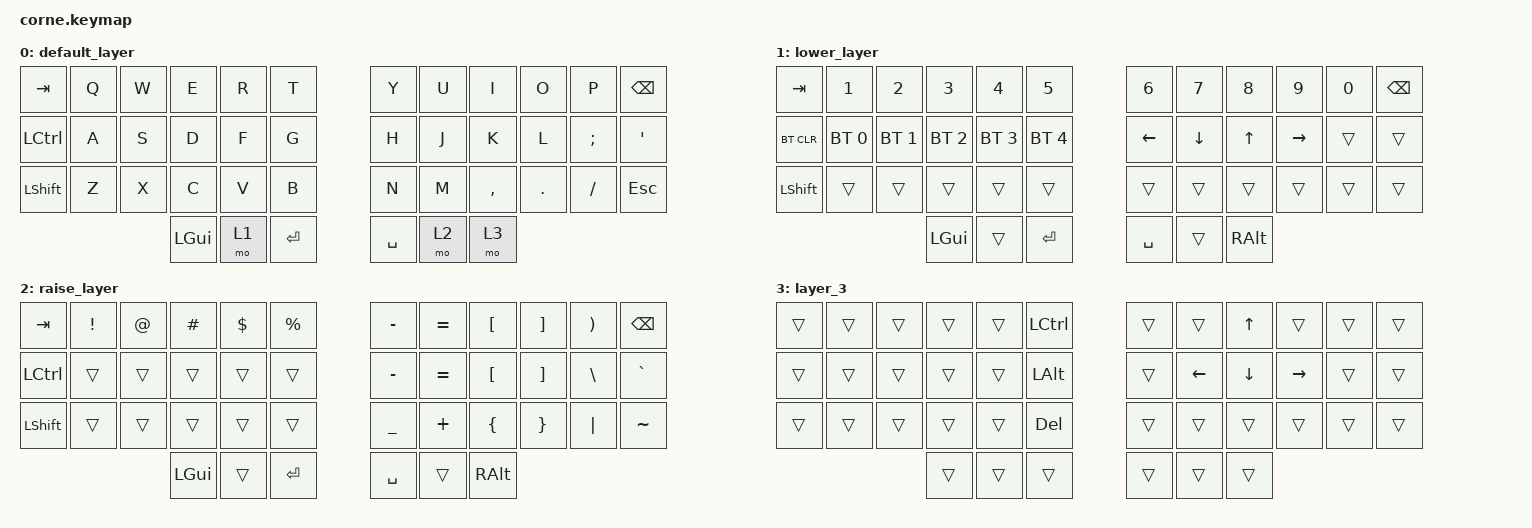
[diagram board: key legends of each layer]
/*
 * Copyright (c) 2020 The ZMK Contributors
 *
 * SPDX-License-Identifier: MIT
 */

#include <behaviors.dtsi>
#include <dt-bindings/zmk/bt.h>
#include <dt-bindings/zmk/keys.h>

/ {
    keymap {
        compatible = "zmk,keymap";

        default_layer {
            // -----------------------------------------------------------------------------------------
            // |  TAB |  Q  |  W  |  E  |  R  |  T  |   |  Y  |  U   |  I  |  O  |  P  | BKSP |
            // | CTRL |  A  |  S  |  D  |  F  |  G  |   |  H  |  J   |  K  |  L  |  ;  |  '   |
            // | SHFT |  Z  |  X  |  C  |  V  |  B  |   |  N  |  M   |  ,  |  .  |  /  | ESC  |
            //                    | GUI | LWR | SPC |   | ENT | RSE  | ALT |

            bindings = <
&kp TAB    &kp Q  &kp W  &kp E     &kp R  &kp T        &kp Y      &kp U  &kp I      &kp O    &kp P     &kp BSPC
&kp LCTRL  &kp A  &kp S  &kp D     &kp F  &kp G        &kp H      &kp J  &kp K      &kp L    &kp SEMI  &kp SQT
&kp LSHFT  &kp Z  &kp X  &kp C     &kp V  &kp B        &kp N      &kp M  &kp COMMA  &kp DOT  &kp FSLH  &kp ESC
                         &kp LGUI  &mo 1  &kp ENTER    &kp SPACE  &mo 2  &mo 3
            >;
        };

        lower_layer {
            // -----------------------------------------------------------------------------------------
            // |  TAB |  1  |  2  |  3  |  4  |  5  |   |  6  |  7  |  8  |  9  |  0  | BKSP |
            // | BTCLR| BT1 | BT2 | BT3 | BT4 | BT5 |   | LFT | DWN |  UP | RGT |     |      |
            // | SHFT |     |     |     |     |     |   |     |     |     |     |     |      |
            //                    | GUI |     | SPC |   | ENT |     | ALT |

            bindings = <
&kp TAB     &kp N1        &kp N2        &kp N3        &kp N4        &kp N5          &kp N6     &kp N7    &kp N8    &kp N9     &kp N0  &kp BSPC
&bt BT_CLR  &bt BT_SEL 0  &bt BT_SEL 1  &bt BT_SEL 2  &bt BT_SEL 3  &bt BT_SEL 4    &kp LEFT   &kp DOWN  &kp UP    &kp RIGHT  &trans  &trans
&kp LSHFT   &trans        &trans        &trans        &trans        &trans          &trans     &trans    &trans    &trans     &trans  &trans
                                        &kp LGUI      &trans        &kp ENTER       &kp SPACE  &trans    &kp RALT
            >;
        };

        raise_layer {
            // -----------------------------------------------------------------------------------------
            // |  TAB |  !  |  @  |  #  |  $  |  %  |   |  ^  |  &  |  *  |  (  |  )  | BKSP |
            // | CTRL |     |     |     |     |     |   |  -  |  =  |  [  |  ]  |  \  |  `   |
            // | SHFT |     |     |     |     |     |   |  _  |  +  |  {  |  }  | "|" |  ~   |
            //                    | GUI |     | SPC |   | ENT |     | ALT |

            bindings = <
&kp TAB    &kp EXCL  &kp AT  &kp HASH  &kp DLLR  &kp PRCNT    &kp MINUS  &kp EQUAL  &kp LEFT_BRACKET  &kp RIGHT_BRACKET  &kp RPAR  &kp BSPC
&kp LCTRL  &trans    &trans  &trans    &trans    &trans       &kp MINUS  &kp EQUAL  &kp LBKT          &kp RBKT           &kp BSLH  &kp GRAVE
&kp LSHFT  &trans    &trans  &trans    &trans    &trans       &kp UNDER  &kp PLUS   &kp LBRC          &kp RBRC           &kp PIPE  &kp TILDE
                             &kp LGUI  &trans    &kp ENTER    &kp SPACE  &trans     &kp RALT
            >;
        };

        layer_3 {
            bindings = <
&trans  &trans  &trans  &trans  &trans  &kp LEFT_CONTROL    &trans  &trans          &kp UP_ARROW  &trans     &trans  &trans
&trans  &trans  &trans  &trans  &trans  &kp LEFT_ALT        &trans  &kp LEFT_ARROW  &kp DOWN      &kp RIGHT  &trans  &trans
&trans  &trans  &trans  &trans  &trans  &kp DELETE          &trans  &trans          &trans        &trans     &trans  &trans
                        &trans  &trans  &trans              &trans  &trans          &trans
            >;
        };
    };
};
